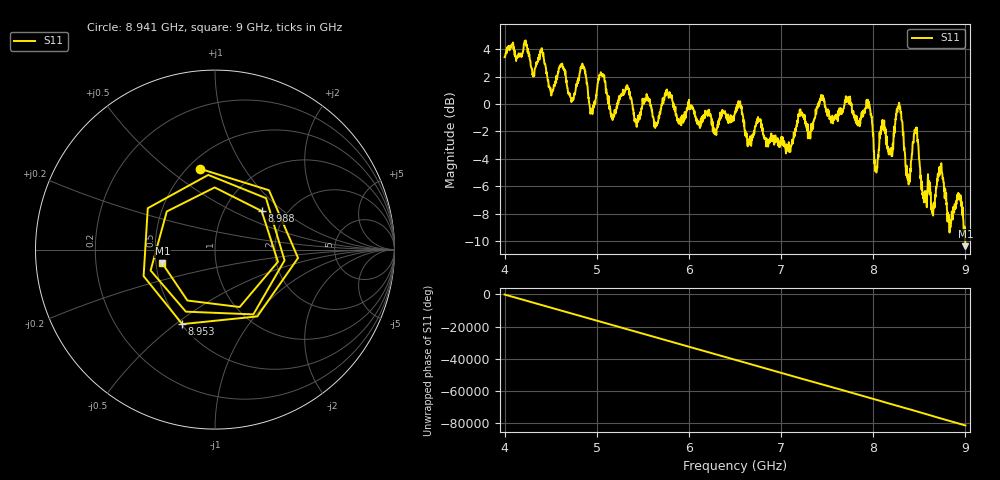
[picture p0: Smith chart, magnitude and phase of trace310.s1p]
! Created with skrf 1.8.0 (http://scikit-rf.org).
# Hz S RI R 50.0
!freq ReS11 ImS11
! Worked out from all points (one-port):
!   1601 points, 4 GHz to 9 GHz, reference 50 ohm
!   lowest |S11| = -10.4 dB at 9 GHz (marker M1), VSWR 1.87, Z = 27.1 - j4.61 ohm
!   |S11| at or under -10 dB: 8.997963 GHz to end of sweep
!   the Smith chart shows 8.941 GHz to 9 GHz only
!   S11 on the Smith chart (normalised r, x): 8.941 GHz: 0.58, +0.66; 8.953 GHz: 0.51, -0.53; 8.988 GHz: 1.49, +0.72; 9 GHz: 0.54, -0.09
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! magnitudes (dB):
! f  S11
! 4 GHz  3.4
! 4.4 GHz  4.0
! 4.506 GHz  0.6
! 4.625 GHz  2.9
! 4.731 GHz  0.4
! 4.85 GHz  2.8
! 4.944 GHz  -0.4
! 5.05 GHz  2.2
! 5.162 GHz  -0.7
! 5.25 GHz  0.3
! 5.875 GHz  -1.1
! 6.5 GHz  -0.5
! 7.125 GHz  -2.7
! 7.75 GHz  0.4
! 7.953 GHz  -0.1
! 8.031 GHz  -4.6
! 8.103 GHz  -1.6
! 8.191 GHz  -3.6
! 8.278 GHz  0.0
! 8.375 GHz  -5.5
! 8.459 GHz  -1.9
! 8.556 GHz  -6.6
! 8.725 GHz  -4.6
! 8.825 GHz  -8.5
! 8.941 GHz  -6.8
! 8.953 GHz  -6.9
! 8.988 GHz  -9.4
! 9 GHz  -10.4
